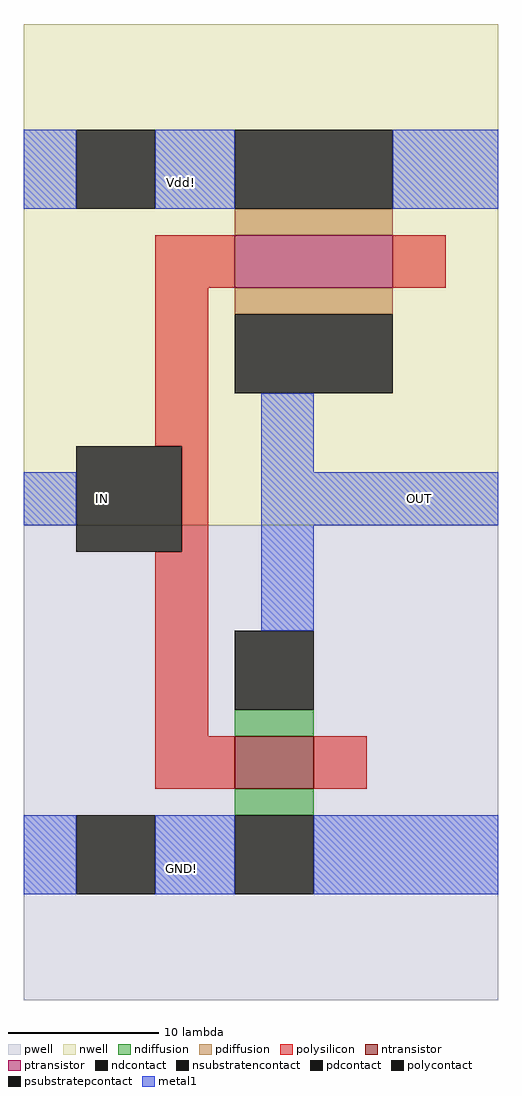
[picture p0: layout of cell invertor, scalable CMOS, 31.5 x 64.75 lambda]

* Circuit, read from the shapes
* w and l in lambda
.subckt invertor GND! IN OUT Vdd!
M1 OUT IN GND! GND! nfet w=5.25 l=3.5
M2 Vdd! IN OUT Vdd! pfet w=10.5 l=3.5
.ends

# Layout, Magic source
magic
tech scmos
magscale 1 4
<< nwell >>
rect 0 98 126 231
<< pwell >>
rect 0 -28 126 98
<< ntransistor >>
rect 56 28 77 42
<< ptransistor >>
rect 56 161 98 175
<< ndiffusion >>
rect 56 42 77 49
rect 56 21 77 28
<< pdiffusion >>
rect 56 175 98 182
rect 56 154 98 161
<< ndcontact >>
rect 56 49 77 70
rect 56 0 77 21
<< pdcontact >>
rect 56 182 98 203
rect 56 133 98 154
<< psubstratepcontact >>
rect 14 0 35 21
<< nsubstratencontact >>
rect 14 182 35 203
<< polysilicon >>
rect 35 161 56 175
rect 98 161 112 175
rect 35 119 49 161
rect 42 91 49 119
rect 35 42 49 91
rect 35 28 56 42
rect 77 28 91 42
<< polycontact >>
rect 14 91 42 119
<< metal1 >>
rect 0 182 14 203
rect 35 182 56 203
rect 98 182 126 203
rect 0 98 14 112
rect 63 112 77 133
rect 63 98 126 112
rect 63 70 77 98
rect 0 0 14 21
rect 35 0 56 21
rect 77 0 126 21
<< labels >>
rlabel polycontact 21 105 21 105 1 IN
rlabel metal1 105 105 105 105 1 OUT
rlabel metal1 42 7 42 7 1 GND!
rlabel metal1 42 189 42 189 1 Vdd!
<< end >>
